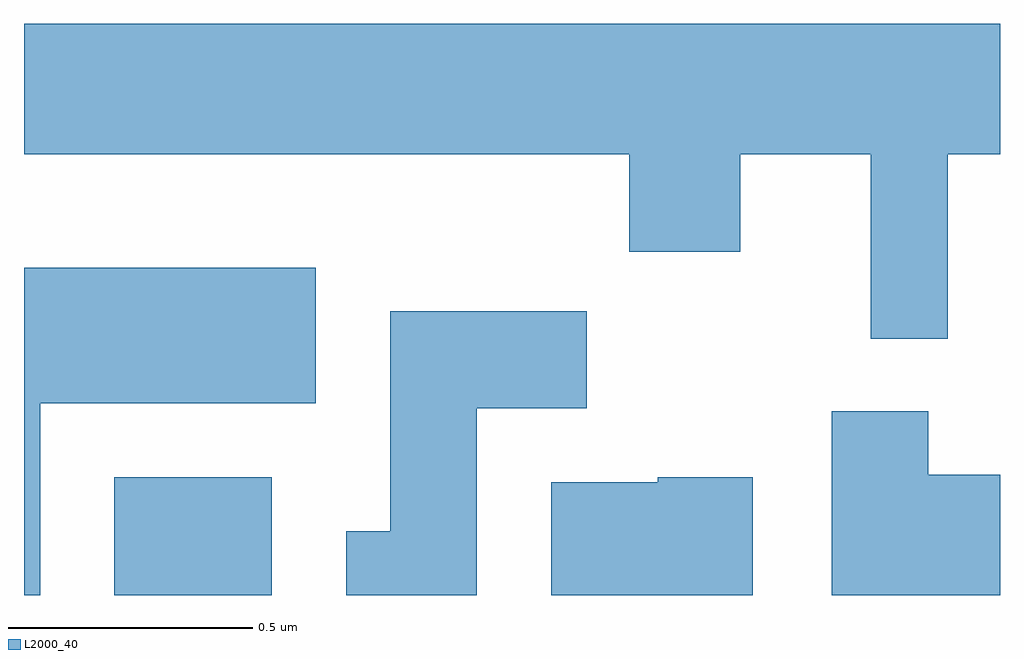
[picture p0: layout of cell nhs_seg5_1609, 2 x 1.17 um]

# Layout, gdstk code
import gdstk
lib = gdstk.Library(unit=1e-6, precision=1e-09)
def R(c, l, rs):  # rectangles x0, y0, x1, y1
    for r in rs: c.add(gdstk.rectangle(r[:2], r[2:], *l))
def P(c, l, *ps):  # polygons
    for p in ps: c.add(gdstk.Polygon(p, *l))
L2000_40 = (2000, 40)

nhs_seg5_1609 = lib.new_cell('nhs_seg5_1609')
R(nhs_seg5_1609, L2000_40, [(196.796,1498.072,197.119,1498.314)])
P(nhs_seg5_1609, L2000_40, [(198.504,1498.976),(198.611,1498.976),(198.611,1499.244),(196.611,1499.244),(196.611,1498.976),(197.851,1498.976),(197.851,1498.776),(198.079,1498.776),(198.079,1498.976),(198.346,1498.976),(198.346,1498.598),(198.504,1498.598)],
  [(196.644,1498.466),(197.209,1498.466),(197.209,1498.744),(196.611,1498.744),(196.611,1498.072),(196.644,1498.072)],
  [(197.539,1498.456),(197.764,1498.456),(197.764,1498.654),(197.361,1498.654),(197.361,1498.204),(197.271,1498.204),(197.271,1498.072),(197.539,1498.072)],
  [(198.611,1498.319),(198.464,1498.319),(198.464,1498.449),(198.266,1498.449),(198.266,1498.072),(198.611,1498.072)],
  [(198.104,1498.314),(197.91,1498.314),(197.91,1498.304),(197.691,1498.304),(197.691,1498.072),(198.104,1498.072)])

lib.write_gds('nhs_seg5_1609.gds')
